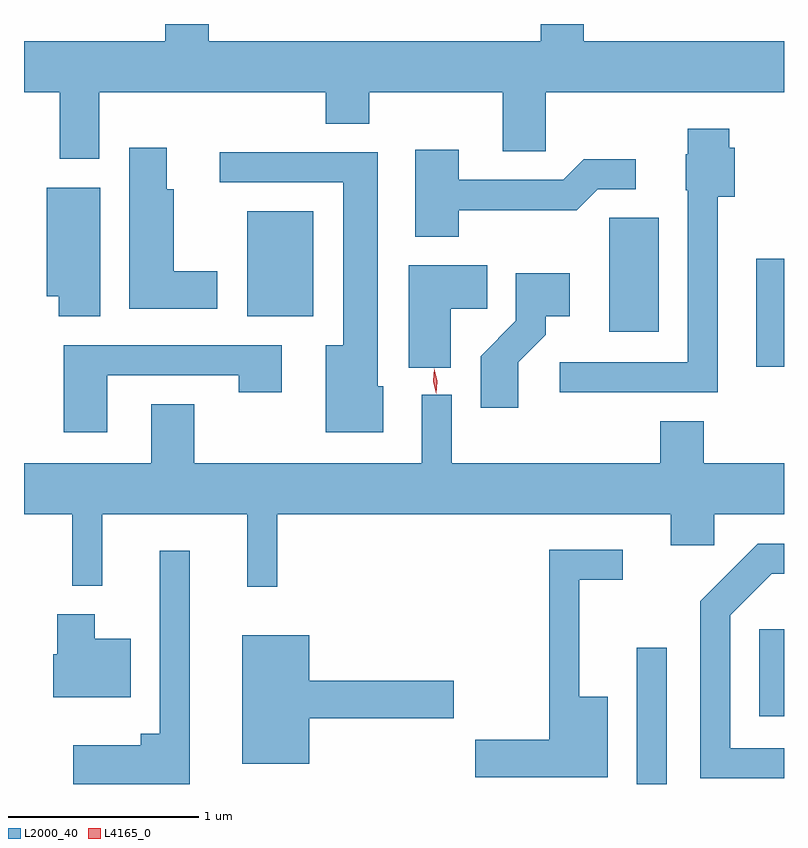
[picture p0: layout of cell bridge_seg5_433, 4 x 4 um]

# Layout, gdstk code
import gdstk
lib = gdstk.Library(unit=1e-6, precision=1e-09)
def R(c, l, rs):  # rectangles x0, y0, x1, y1
    for r in rs: c.add(gdstk.rectangle(r[:2], r[2:], *l))
def P(c, l, *ps):  # polygons
    for p in ps: c.add(gdstk.Polygon(p, *l))
L2000_40 = (2000, 40)
L4165_0 = (4165, 0)

bridge_seg5_433 = lib.new_cell('bridge_seg5_433')
R(bridge_seg5_433, L2000_40, [(218.706,1479.795,218.864,1480.513), (219.351,1480.151,219.482,1480.609), (219.336,1481.991,219.482,1482.559), (218.561,1482.176,218.824,1482.774), (216.656,1482.256,217.004,1482.809)])
P(bridge_seg5_433, L2000_40, [(215.879,1483.436),(217.071,1483.436),(217.071,1483.271),(217.299,1483.271),(217.299,1483.436),(218.001,1483.436),(218.001,1483.126),(218.229,1483.126),(218.229,1483.436),(219.482,1483.436),(219.482,1483.704),(218.429,1483.704),(218.429,1483.795),(218.201,1483.795),(218.201,1483.704),(216.454,1483.704),(216.454,1483.795),(216.226,1483.795),(216.226,1483.704),(215.482,1483.704),(215.482,1483.436),(215.671,1483.436),(215.671,1483.086),(215.879,1483.086)],
  [(219.134,1482.886),(219.224,1482.886),(219.224,1483.144),(219.194,1483.144),(219.194,1483.244),(218.976,1483.244),(218.976,1483.11),(218.966,1483.11),(218.966,1482.92),(218.976,1482.92),(218.976,1482.014),(218.303,1482.014),(218.303,1481.856),(219.134,1481.856)],
  [(216.499,1482.494),(216.269,1482.494),(216.269,1482.924),(216.234,1482.924),(216.234,1483.144),(216.036,1483.144),(216.036,1482.296),(216.499,1482.296)],
  [(217.769,1482.816),(218.392,1482.816),(218.502,1482.926),(218.703,1482.926),(218.703,1483.084),(218.429,1483.084),(218.319,1482.974),(217.769,1482.974),(217.769,1483.134),(217.541,1483.134),(217.541,1482.676),(217.769,1482.676)],
  [(217.374,1481.889),(217.344,1481.889),(217.344,1483.119),(216.513,1483.119),(216.513,1482.961),(217.161,1482.961),(217.161,1482.104),(217.071,1482.104),(217.071,1481.646),(217.374,1481.646)],
  [(215.884,1482.934),(215.601,1482.934),(215.601,1482.361),(215.666,1482.361),(215.666,1482.256),(215.884,1482.256)],
  [(217.729,1482.296),(217.919,1482.296),(217.919,1482.524),(217.506,1482.524),(217.506,1481.986),(217.729,1481.986)],
  [(218.084,1482.014),(218.229,1482.159),(218.229,1482.256),(218.354,1482.256),(218.354,1482.484),(218.071,1482.484),(218.071,1482.232),(217.886,1482.047),(217.886,1481.776),(218.084,1481.776)],
  [(215.919,1481.946),(216.611,1481.946),(216.611,1481.856),(216.839,1481.856),(216.839,1482.104),(215.691,1482.104),(215.691,1481.646),(215.919,1481.646)],
  [(216.814,1481.216),(218.886,1481.216),(218.886,1481.051),(219.114,1481.051),(219.114,1481.216),(219.482,1481.216),(219.482,1481.484),(219.059,1481.484),(219.059,1481.704),(218.831,1481.704),(218.831,1481.484),(217.734,1481.484),(217.734,1481.843),(217.576,1481.843),(217.576,1481.484),(216.379,1481.484),(216.379,1481.794),(216.151,1481.794),(216.151,1481.484),(215.482,1481.484),(215.482,1481.216),(215.736,1481.216),(215.736,1480.838),(215.894,1480.838),(215.894,1481.216),(216.656,1481.216),(216.656,1480.833),(216.814,1480.833)],
  [(219.482,1479.984),(219.199,1479.984),(219.199,1480.684),(219.417,1480.901),(219.482,1480.901),(219.482,1481.059),(219.344,1481.059),(219.041,1480.757),(219.041,1479.826),(219.482,1479.826)],
  [(218.554,1480.254),(218.404,1480.254),(218.404,1480.871),(218.633,1480.871),(218.633,1481.029),(218.246,1481.029),(218.246,1480.029),(217.856,1480.029),(217.856,1479.831),(218.554,1479.831)],
  [(216.354,1481.023),(216.196,1481.023),(216.196,1480.059),(216.096,1480.059),(216.096,1479.999),(215.741,1479.999),(215.741,1479.795),(216.354,1479.795)],
  [(216.044,1480.559),(215.854,1480.559),(215.854,1480.689),(215.656,1480.689),(215.656,1480.479),(215.636,1480.479),(215.636,1480.251),(216.044,1480.251)],
  [(216.984,1480.141),(217.744,1480.141),(217.744,1480.339),(216.984,1480.339),(216.984,1480.579),(216.631,1480.579),(216.631,1479.901),(216.984,1479.901)])
P(bridge_seg5_433, L4165_0, [(217.653,1481.848),(217.652,1481.849),(217.637,1481.914),(217.64,1481.98),(217.64,1481.981),(217.641,1481.98),(217.656,1481.916),(217.653,1481.849)])

lib.write_gds('bridge_seg5_433.gds')
